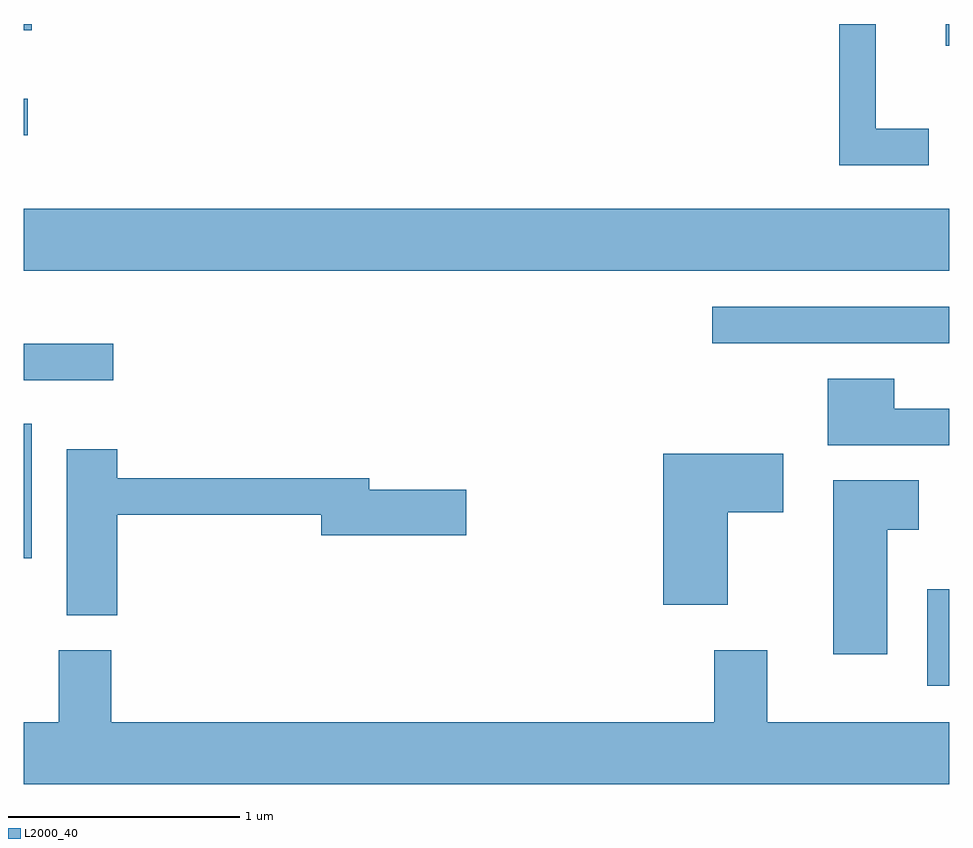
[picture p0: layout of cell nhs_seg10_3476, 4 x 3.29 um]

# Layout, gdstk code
import gdstk
lib = gdstk.Library(unit=1e-6, precision=1e-09)
def R(c, l, rs):  # rectangles x0, y0, x1, y1
    for r in rs: c.add(gdstk.rectangle(r[:2], r[2:], *l))
def P(c, l, *ps):  # polygons
    for p in ps: c.add(gdstk.Polygon(p, *l))
L2000_40 = (2000, 40)

nhs_seg10_3476 = lib.new_cell('nhs_seg10_3476')
R(nhs_seg10_3476, L2000_40, [(291.516,2127.661,291.611,2128.079), (287.611,2128.211,287.644,2128.794), (287.611,2128.981,287.998,2129.139), (290.588,2129.141,291.611,2129.299), (287.611,2129.456,291.611,2129.724), (287.611,2130.041,287.628,2130.199), (291.596,2130.428,291.611,2130.522), (287.611,2130.496,287.644,2130.522)])
P(nhs_seg10_3476, L2000_40, [(291.523,2130.069),(291.294,2130.069),(291.294,2130.522),(291.136,2130.522),(291.136,2129.911),(291.523,2129.911)],
  [(291.611,2128.859),(291.374,2128.859),(291.374,2128.989),(291.086,2128.989),(291.086,2128.701),(291.611,2128.701)],
  [(288.014,2128.401),(288.896,2128.401),(288.896,2128.311),(289.524,2128.311),(289.524,2128.509),(289.104,2128.509),(289.104,2128.559),(288.014,2128.559),(288.014,2128.684),(287.796,2128.684),(287.796,2127.966),(288.014,2127.966)],
  [(290.654,2128.411),(290.894,2128.411),(290.894,2128.664),(290.376,2128.664),(290.376,2128.011),(290.654,2128.011)],
  [(291.344,2128.336),(291.479,2128.336),(291.479,2128.549),(291.111,2128.549),(291.111,2127.796),(291.344,2127.796)],
  [(291.611,2127.504),(290.824,2127.504),(290.824,2127.814),(290.596,2127.814),(290.596,2127.504),(287.989,2127.504),(287.989,2127.814),(287.761,2127.814),(287.761,2127.504),(287.611,2127.504),(287.611,2127.236),(291.611,2127.236)])

lib.write_gds('nhs_seg10_3476.gds')
